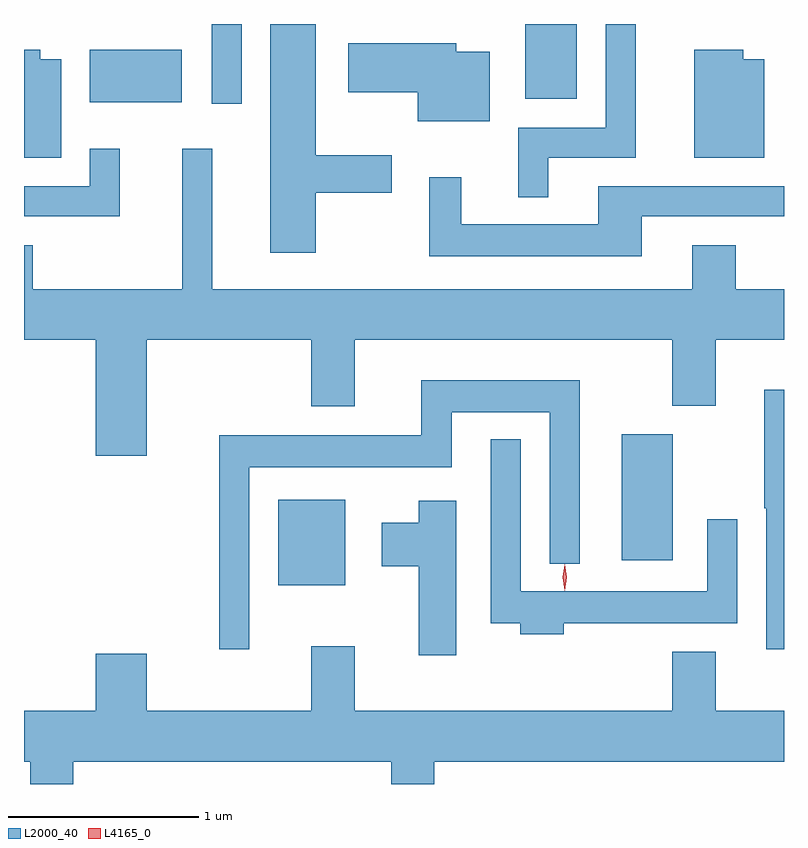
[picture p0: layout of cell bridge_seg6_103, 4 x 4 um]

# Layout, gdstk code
import gdstk
lib = gdstk.Library(unit=1e-6, precision=1e-09)
def R(c, l, rs):  # rectangles x0, y0, x1, y1
    for r in rs: c.add(gdstk.rectangle(r[:2], r[2:], *l))
def P(c, l, *ps):  # polygons
    for p in ps: c.add(gdstk.Polygon(p, *l))
L2000_40 = (2000, 40)
L4165_0 = (4165, 0)

bridge_seg6_103 = lib.new_cell('bridge_seg6_103')
R(bridge_seg6_103, L2000_40, [(1055.196,1619.786,1055.549,1620.234), (1057.006,1619.916,1057.274,1620.579), (1054.846,1622.318,1055.004,1622.739), (1054.206,1622.326,1054.689,1622.604), (1056.496,1622.346,1056.769,1622.739)])
P(bridge_seg6_103, L2000_40, [(1056.619,1622.036),(1057.079,1622.036),(1057.079,1622.739),(1056.921,1622.739),(1056.921,1622.194),(1056.461,1622.194),(1056.461,1621.828),(1056.619,1621.828)],
  [(1055.394,1621.851),(1055.794,1621.851),(1055.794,1622.049),(1055.394,1622.049),(1055.394,1622.739),(1055.156,1622.739),(1055.156,1621.536),(1055.394,1621.536)],
  [(1056.309,1622.594),(1056.134,1622.594),(1056.134,1622.639),(1055.566,1622.639),(1055.566,1622.381),(1055.931,1622.381),(1055.931,1622.226),(1056.309,1622.226)],
  [(1057.754,1622.554),(1057.644,1622.554),(1057.644,1622.604),(1057.386,1622.604),(1057.386,1622.036),(1057.754,1622.036)],
  [(1054.054,1622.554),(1053.944,1622.554),(1053.944,1622.604),(1053.859,1622.604),(1053.859,1622.036),(1054.054,1622.036)],
  [(1054.504,1621.076),(1055.371,1621.076),(1055.371,1620.726),(1055.599,1620.726),(1055.599,1621.076),(1057.271,1621.076),(1057.271,1620.731),(1057.499,1620.731),(1057.499,1621.076),(1057.859,1621.076),(1057.859,1621.344),(1057.604,1621.344),(1057.604,1621.574),(1057.376,1621.574),(1057.376,1621.344),(1054.849,1621.344),(1054.849,1622.083),(1054.691,1622.083),(1054.691,1621.344),(1053.904,1621.344),(1053.904,1621.574),(1053.859,1621.574),(1053.859,1621.076),(1054.236,1621.076),(1054.236,1620.466),(1054.504,1620.466)],
  [(1054.364,1622.083),(1054.206,1622.083),(1054.206,1621.884),(1053.859,1621.884),(1053.859,1621.726),(1054.364,1621.726)],
  [(1057.109,1621.726),(1057.859,1621.726),(1057.859,1621.884),(1056.881,1621.884),(1056.881,1621.684),(1056.159,1621.684),(1056.159,1621.933),(1055.991,1621.933),(1055.991,1621.516),(1057.109,1621.516)],
  [(1055.044,1620.406),(1056.109,1620.406),(1056.109,1620.696),(1056.626,1620.696),(1056.626,1619.898),(1056.784,1619.898),(1056.784,1620.864),(1055.951,1620.864),(1055.951,1620.574),(1054.886,1620.574),(1054.886,1619.448),(1055.044,1619.448)],
  [(1057.859,1620.814),(1057.756,1620.814),(1057.756,1620.19),(1057.766,1620.19),(1057.766,1619.448),(1057.859,1619.448)],
  [(1056.699,1619.586),(1057.614,1619.586),(1057.614,1620.133),(1057.456,1620.133),(1057.456,1619.754),(1056.474,1619.754),(1056.474,1620.553),(1056.316,1620.553),(1056.316,1619.586),(1056.471,1619.586),(1056.471,1619.526),(1056.699,1619.526)],
  [(1056.134,1620.229),(1055.936,1620.229),(1055.936,1620.114),(1055.741,1620.114),(1055.741,1619.886),(1055.936,1619.886),(1055.936,1619.416),(1056.134,1619.416)],
  [(1055.599,1619.464),(1055.371,1619.464),(1055.371,1619.124),(1054.504,1619.124),(1054.504,1619.424),(1054.236,1619.424),(1054.236,1619.124),(1053.859,1619.124),(1053.859,1618.856),(1053.891,1618.856),(1053.891,1618.739),(1054.119,1618.739),(1054.119,1618.856),(1055.791,1618.856),(1055.791,1618.739),(1056.019,1618.739),(1056.019,1618.856),(1057.859,1618.856),(1057.859,1619.124),(1057.499,1619.124),(1057.499,1619.434),(1057.271,1619.434),(1057.271,1619.124),(1055.599,1619.124)])
P(bridge_seg6_103, L4165_0, [(1056.705,1619.757),(1056.696,1619.827),(1056.705,1619.896),(1056.706,1619.896),(1056.706,1619.896),(1056.716,1619.827),(1056.706,1619.757),(1056.706,1619.757)],
  [(1056.705,1619.76),(1056.705,1619.76),(1056.695,1619.826),(1056.705,1619.892),(1056.705,1619.893),(1056.706,1619.892),(1056.715,1619.826),(1056.706,1619.76)])

lib.write_gds('bridge_seg6_103.gds')
